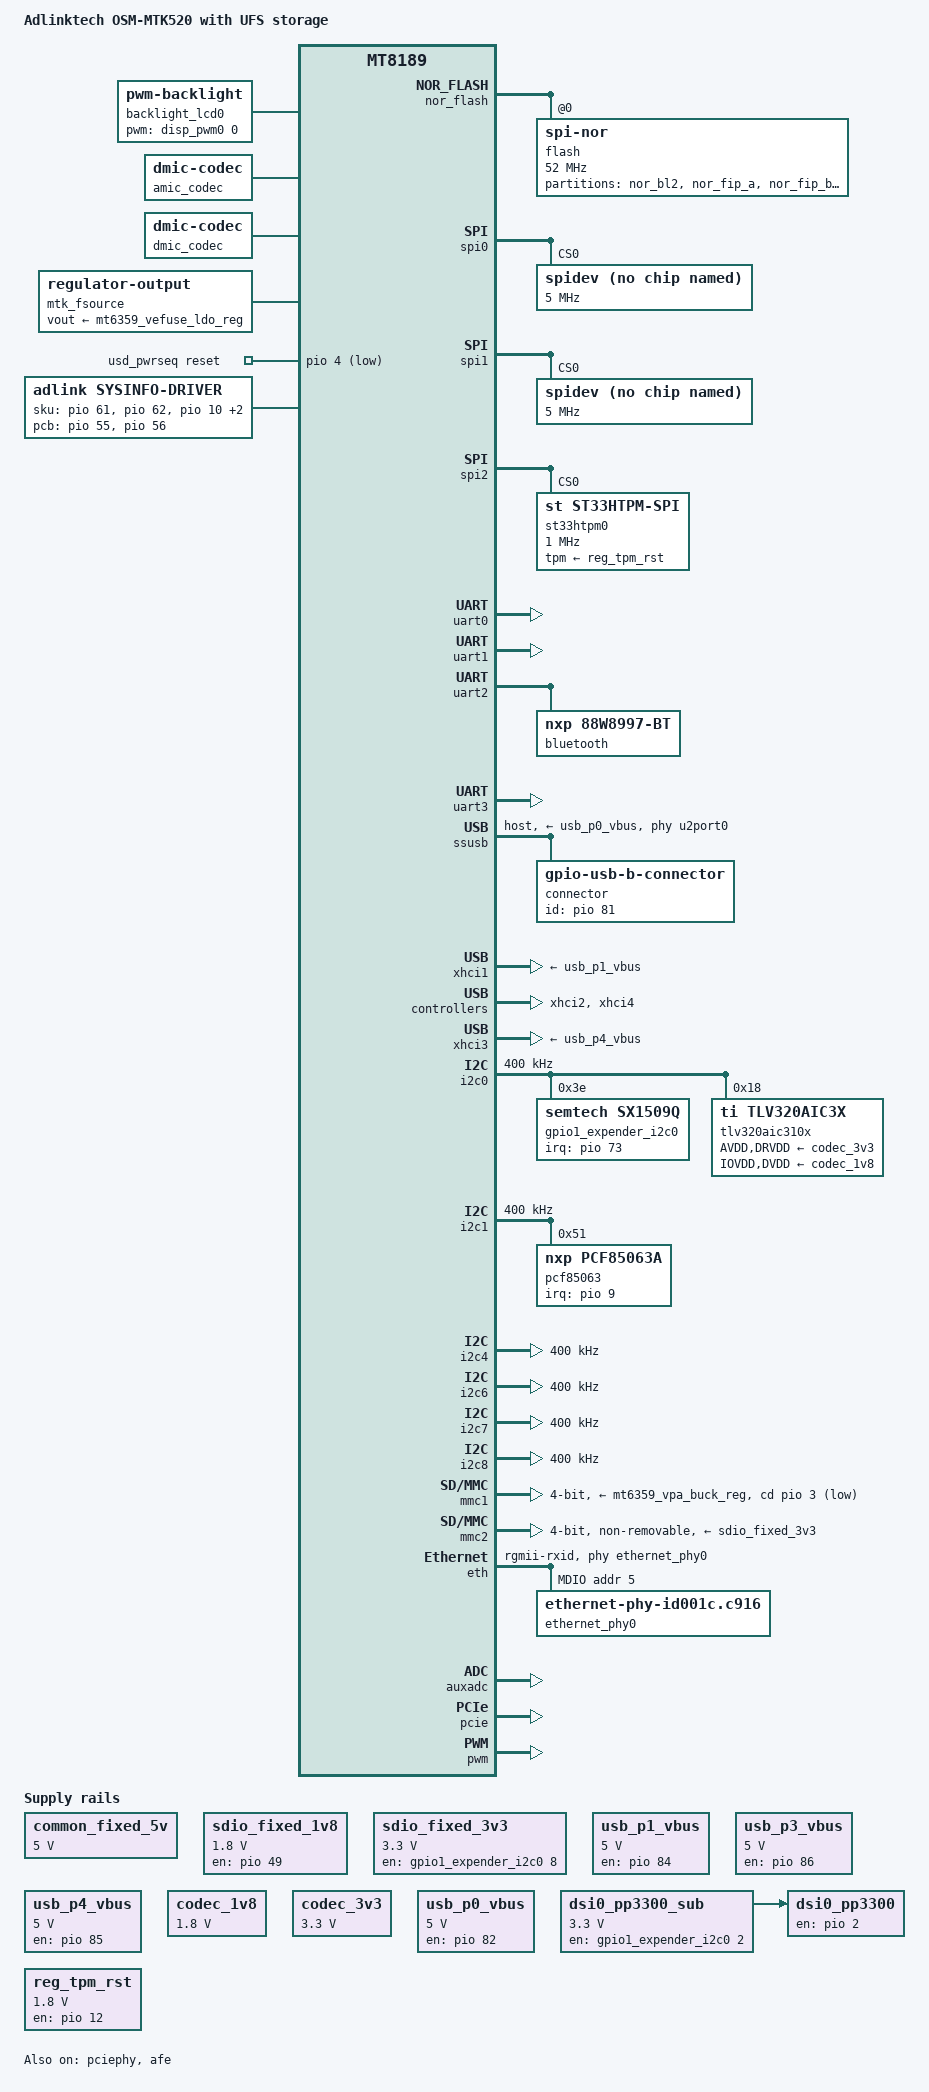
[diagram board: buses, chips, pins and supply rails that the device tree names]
// SPDX-License-Identifier: (GPL-2.0 OR MIT)
/*
 * Copyright (C) 2024 MediaTek Inc.
 * Author: Chris Chen <chris-qj.chen@mediatek.com>
 *	   Pablo Sun <pablo.sun@mediatek.com>
 *	   Macpaul Lin <macpaul.lin@mediatek.com>
 */
/dts-v1/;

#include "osm-mtk520-core.dts"

/ {
	model = "Adlinktech OSM-MTK520 with UFS storage";
	compatible = "mediatek,mt8391-evk", "mediatek,mt8391",
		     "mediatek,mt8189";

	aliases {
		serial0 = &uart0;
		serial1 = &uart1;
		rtc0 = &pcf85063;
        rtc1 = &mt6359rtc;
	};

	backlight_lcd0: backlight-lcd0 {
		compatible = "pwm-backlight";
		pwms = <&disp_pwm0 0 500000>;
		// enable-gpios = <&pio 13 GPIO_ACTIVE_HIGH>;
		brightness-levels = <0 1023>;
		num-interpolated-steps = <1023>;
		default-brightness-level = <576>;
		status = "okay";
	};

	backlight_lcd1: backlight-lcd1 {
		compatible = "pwm-backlight";
		pwms = <&disp_pwm1 0 500000>;
		brightness-levels = <0 1023>;
		num-interpolated-steps = <1023>;
		default-brightness-level = <576>;
		status = "disabled";
	};

	common_fixed_5v: regulator-0 {
		compatible = "regulator-fixed";
		regulator-name = "5v_en";
		regulator-min-microvolt = <5000000>;
		regulator-max-microvolt = <5000000>;
		enable-active-high;
		regulator-always-on;
	};

	sdio_fixed_1v8: regulator-3 {
		compatible = "regulator-fixed";
		regulator-name = "sdio_io";
		regulator-min-microvolt = <1800000>;
		regulator-max-microvolt = <1800000>;
		enable-active-high;
		startup-delay-us = <200000>;
		gpio = <&pio 49 0>;	/* chip SYSRST */
	};

	sdio_fixed_3v3: regulator-4 {
		compatible = "regulator-fixed";
		regulator-name = "sdio_card";
		regulator-min-microvolt = <3300000>;
		regulator-max-microvolt = <3300000>;
		gpio = <&gpio1_expender_i2c0 8 GPIO_ACTIVE_HIGH>;
		enable-active-high;
	};

	usb_p1_vbus: regulator-5 {
		compatible = "regulator-fixed";
		regulator-name = "usb_p1_vbus";
		regulator-min-microvolt = <5000000>;
		regulator-max-microvolt = <5000000>;
		gpio = <&pio 84 GPIO_ACTIVE_HIGH>;
		enable-active-high;
		regulator-always-on;
	};

	usb_p3_vbus: regulator-6 {
		compatible = "regulator-fixed";
		regulator-name = "usb_p3_vbus";
		regulator-min-microvolt = <5000000>;
		regulator-max-microvolt = <5000000>;
		gpio = <&pio 86 0>;
		enable-active-high;
	};

	usb_p4_vbus: regulator-7 {
		compatible = "regulator-fixed";
		regulator-name = "usb_p4_vbus";
		regulator-min-microvolt = <5000000>;
		regulator-max-microvolt = <5000000>;
		gpio = <&pio 85 GPIO_ACTIVE_HIGH>;
		enable-active-high;
		regulator-always-on;
	};

	codec_1v8: codec-1v8 {
		compatible = "regulator-fixed";
		regulator-name = "codec-1v8";
		regulator-min-microvolt = <1800000>;
		regulator-max-microvolt = <1800000>;
		regulator-boot-on;
		regulator-always-on;
		enable-active-high;
	};

	codec_3v3: codec-3v3 {
		compatible = "regulator-fixed";
		regulator-name = "codec-3v3";
		regulator-min-microvolt = <3300000>;
		regulator-max-microvolt = <3300000>;
		regulator-boot-on;
		regulator-always-on;
		enable-active-high;
	};

	usb_p0_vbus: usb-p0-vbus {
		compatible = "regulator-fixed";
		regulator-name = "p0_vbus";
		regulator-min-microvolt = <5000000>;
		regulator-max-microvolt = <5000000>;
		gpio = <&pio 82 GPIO_ACTIVE_HIGH>;
		enable-active-high;
	};

	amic_codec: amic-codec {
		compatible = "dmic-codec";
		#sound-dai-cells = <0>;
		num-channels = <2>;
		wakeup-delay-ms = <200>;
	};

	dmic_codec: dmic-codec {
		compatible = "dmic-codec";
		#sound-dai-cells = <0>;
		num-channels = <2>;
		wakeup-delay-ms = <100>;
	};

	dsi0_pp3300_sub: dsi0-pp3300-sub {
        compatible = "regulator-fixed";
        regulator-name = "lcm2_3v3_sub_en";
        regulator-min-microvolt = <3300000>;
        regulator-max-microvolt = <3300000>;
        enable-active-high;
        gpio = <&gpio1_expender_i2c0 2 0>;
		// regulator-always-on;
    };
	
	dsi0_pp3300: dsi0-pp3300 {
		compatible = "regulator-fixed";
		regulator-name = "lcm2_3v3_en";
		enable-active-high;
		gpio = <&pio 2 0>;
		vin-supply = <&dsi0_pp3300_sub>;
		pinctrl-names = "default";
		pinctrl-0 = <&dsi0_pp3300_pins_default>;
	};

	mtk_fsource: mtk-fsource {
		compatible = "regulator-output";
		vout-supply = <&mt6359_vefuse_ldo_reg>;
	};
	
	edp_panel_fixed_3v3: edp-panel-fixed-3v3 {
		compatible = "regulator-fixed";
		regulator-name = "edp_panel_3v3";
		regulator-min-microvolt = <3300000>;
		regulator-max-microvolt = <3300000>;
		enable-active-high;
		status = "disabled";
	};

	edp_panel_fixed_12v: edp-panel-fixed-12v {
		compatible = "regulator-fixed";
		regulator-name = "edp_backlight_12v";
		regulator-min-microvolt = <12000000>;
		regulator-max-microvolt = <12000000>;
		enable-active-high;
		status = "disabled";
	};

	reg_tpm_rst: regulator-tmp {
		compatible = "regulator-fixed";
		regulator-name = "TPM_RST";
		regulator-min-microvolt = <1800000>;
		regulator-max-microvolt = <1800000>;
        //GPIO_B_1 , TPM_RSTB_N
		gpio =  <&pio 12 GPIO_ACTIVE_HIGH>;
		enable-active-high;
		regulator-always-on;
	};

    leds {
        compatible = "gpio-leds";
    };

	usd_pwrseq: usd-pwrseq {
		compatible = "mmc-pwrseq-simple";
		status = "okay";
		pinctrl-names = "default";
		pinctrl-0 = <&usd_pins_pwrseq>;
		reset-gpios = <&pio 4 1>;
		post-power-on-delay-ms = <200>;
	};

	sysinfo {
        compatible = "adlink,sysinfo-driver";
        status = "okay";

        pinctrl-names = "default";
        pinctrl-0 = <&sysinfo_pins>;

        sku-gpios = <&pio 61 GPIO_ACTIVE_HIGH>,
                    <&pio 62 GPIO_ACTIVE_HIGH>,
                    <&pio 10 GPIO_ACTIVE_HIGH>,
                    <&pio 108 GPIO_ACTIVE_HIGH>,
                    <&pio 109 GPIO_ACTIVE_HIGH>;

        pcb-gpios = <&pio 55 GPIO_ACTIVE_HIGH>,
                    <&pio 56 GPIO_ACTIVE_HIGH>;

        skus {
            sku@0 {
                sku-id = <0>;
                sku-name = "OSM-MTK520-4G-64G-ER(000E)";
            };
            sku@4 {
                sku-id = <4>;
                sku-name = "OSM-MTK520-4G-64G-CT(100E)";
            };
            sku@5 {
                sku-id = <5>;
                sku-name = "OSM-MTK520-8G-64G-CT/NK(210E)";
            };
            sku@20 {
                sku-id = <20>;
                sku-name = "OSM-MTK720-4G-64G-ER(Z00E)";
            };
        };

        pcbs {
            pcb@0 {
                pcb-id = <0>;
                pcb-name = "PCB A1";
            };
            pcb@1 {
                pcb-id = <1>;
                pcb-name = "PCB A2";
            };
            pcb@2 {
                pcb-id = <2>;
                pcb-name = "PCB A3";
            };
            pcb@3 {
                pcb-id = <3>;
                pcb-name = "PCB A4";
            };
        };
    }; 



};


&efuse {
	/* custome data area:237-244 */
	/* Serial Number 237 */
	sn_part0: efuse-c_dat0 {
			reg = <0x510 0x4>;
	};

	/* Serial Number 238 */
	sn_part1: efuse-c_dat1 {
			reg = <0x514 0x4>;
	};
	/* MAC address 239 */
	mac_part0: efuse-c_dat2 {
			reg = <0x518 0x4>;
	};

	/* MAC address 240 */
	mac_part1: efuse-c_dat3 {
			reg = <0x51c 0x4>;
	};
};

&dsi0 {
	status = "disabled";
	#address-cells = <1>;
	#size-cells = <0>;
	poweron-in-hs-mode = <0>;
	dsi_panel@0 {
		compatible = "auo,b080uan01";
		reg = <0>;
		
		reset-gpios = <&pio 25 1>;
		enable-gpios = <&pio 13 0>;
		pinctrl-names = "default";
		pinctrl-0 = <&dsi_panel_pins_default>;
		power-supply = <&dsi0_pp3300>;
		backlight = <&backlight_lcd0>;
		status = "disabled";
		port {
			dsi_panel_in: endpoint {
				remote-endpoint = <&dsi_out>;
			};
		};
	};
	ports {
		port {
			dsi_out: endpoint {
				remote-endpoint = <&dsi_panel_in>;
			};
		};
	};
};

&mipi_tx_config0 {
	status = "disabled";
};

&disp_pwm0 {
	pinctrl-names = "default";
	pinctrl-0 = <&disp_pwm0_pin_default>;
};

&pio {
	uart0_pins: uart0-pins {
		pins {
			pinmux = <PINMUX_GPIO31__FUNC_UTXD0>,
				 <PINMUX_GPIO32__FUNC_URXD0>;
			bias-pull-up;
		};
	};

	uart1_pins: uart1-pins {
		pins {
			pinmux = <PINMUX_GPIO33__FUNC_UTXD1>,
				 <PINMUX_GPIO34__FUNC_URXD1>;
			bias-pull-up;
		};
	};

	uart2_pins: uart2-pins {
		pins {
			pinmux = <PINMUX_GPIO35__FUNC_UTXD2>,
				 <PINMUX_GPIO36__FUNC_URXD2>;
			bias-pull-up;
		};
		rtscts-pins {
			pinmux = <PINMUX_GPIO16__FUNC_UCTS2>,
				 <PINMUX_GPIO17__FUNC_URTS2>;
		};
	};

	uart3_pins: uart3-pins {
		pins {
			pinmux = <PINMUX_GPIO37__FUNC_UTXD3>,
				 <PINMUX_GPIO38__FUNC_URXD3>;
			bias-pull-up;
		};
	};

	sysinfo_pins: sysinfo-pins {
		sku-pins {
			pinmux = <PINMUX_GPIO61__FUNC_GPIO61>,
					<PINMUX_GPIO62__FUNC_GPIO62>,
					<PINMUX_GPIO10__FUNC_GPIO10>,
					<PINMUX_GPIO108__FUNC_GPIO108>,
					<PINMUX_GPIO109__FUNC_GPIO109>;
			input-enable;
			// bias-pull-up;
			bias-disable;
		};
		pcb-pins {
			pinmux = <PINMUX_GPIO55__FUNC_GPIO55>,
					<PINMUX_GPIO56__FUNC_GPIO56>;
			input-enable;
			bias-disable;
		};
	};
	nor_pins_default: nor-default-pins {
		pins-ck-io {
			pinmux = <PINMUX_GPIO150__FUNC_SPINOR_CK>,
				 <PINMUX_GPIO152__FUNC_SPINOR_IO0>,
				 <PINMUX_GPIO153__FUNC_SPINOR_IO1>;
			drive-strength = <MTK_DRIVE_8mA>;
			bias-pull-down;
		};

		pins-cs {
			pinmux = <PINMUX_GPIO151__FUNC_SPINOR_CS>,
					<PINMUX_GPIO154__FUNC_SPINOR_IO2>,
					<PINMUX_GPIO155__FUNC_SPINOR_IO3>;
			drive-strength = <MTK_DRIVE_8mA>;
			bias-pull-up;
		};
	};

	i2c0_pins:i2c0{
		pins-bus{
			pinmux = <PINMUX_GPIO52__FUNC_SDA0>,
					<PINMUX_GPIO51__FUNC_SCL0>;
			bias-pull-up;
		};
	};

	i2c1_pins:i2c1{
		pins-bus{
			pinmux = <PINMUX_GPIO54__FUNC_SDA1>,
					<PINMUX_GPIO53__FUNC_SCL1>;
			bias-pull-up;
		};
	};


	i2c4_pins:i2c4{
		pins-bus{
			pinmux = <PINMUX_GPIO60__FUNC_SDA4>,
					<PINMUX_GPIO59__FUNC_SCL4>;
			bias-pull-up;
		};
	};

	i2c6_pins:i2c6{
		pins-bus{
			pinmux = <PINMUX_GPIO64__FUNC_SDA6>,
					<PINMUX_GPIO63__FUNC_SCL6>;
			bias-pull-up;
		};
	};

	i2c7_pins:i2c7{
		pins-bus{
			pinmux = <PINMUX_GPIO66__FUNC_SDA7>,
					<PINMUX_GPIO65__FUNC_SCL7>;
			bias-pull-up;
		};
	};

	i2c8_pins:i2c8{
		pins-bus{
			pinmux = <PINMUX_GPIO68__FUNC_SDA8>,
					<PINMUX_GPIO67__FUNC_SCL8>;
			bias-pull-up;
		};
	};

	pwm_pins: pwm-pins {
		pins {
			pinmux = <PINMUX_GPIO136__FUNC_PWM_0>,
					<PINMUX_GPIO137__FUNC_PWM_1>,
					<PINMUX_GPIO138__FUNC_PWM_2>;
		};
	};

	tpm_pins: tpm-pins {
        pins-rst {
            pinmux = <PINMUX_GPIO11__FUNC_GPIO11>;
            output-high;
        };
        pins-intr {
            pinmux = <PINMUX_GPIO12__FUNC_GPIO12>;
        };
    };

	eth_default_pins: eth-default-pins {
		txd-pins {
			pinmux = <PINMUX_GPIO119__FUNC_GBE_TXD3>,
				 <PINMUX_GPIO120__FUNC_GBE_TXD2>,
				 <PINMUX_GPIO121__FUNC_GBE_TXD1>,
				 <PINMUX_GPIO122__FUNC_GBE_TXD0>;
			drive-strength = <MTK_DRIVE_8mA>;
		};
		cc-pins {
			pinmux = <PINMUX_GPIO127__FUNC_GBE_TXC>,
				 <PINMUX_GPIO130__FUNC_GBE_TXEN>,
				 <PINMUX_GPIO129__FUNC_GBE_RXDV>,
				 <PINMUX_GPIO128__FUNC_GBE_RXC>;
			drive-strength = <MTK_DRIVE_8mA>;
		};
		rxd-pins {
			pinmux = <PINMUX_GPIO123__FUNC_GBE_RXD3>,
				 <PINMUX_GPIO124__FUNC_GBE_RXD2>,
				 <PINMUX_GPIO125__FUNC_GBE_RXD1>,
				 <PINMUX_GPIO126__FUNC_GBE_RXD0>;
			drive-strength = <MTK_DRIVE_8mA>;
		};
		mdio-pins {
			pinmux = <PINMUX_GPIO131__FUNC_GBE_MDC>,
				 <PINMUX_GPIO132__FUNC_GBE_MDIO>;
			drive-strength = <MTK_DRIVE_8mA>;
			input-enable;
		};
		phy_reset_pin {									
			pinmux = <PINMUX_GPIO14__FUNC_GPIO14>; 
            output-high;
		};
		phy_intr_pin {									
			pinmux = <PINMUX_GPIO115__FUNC_GPIO115>;
		};		
	};

	eth_sleep_pins: eth-sleep-pins {
		txd-pins {
			pinmux = <PINMUX_GPIO119__FUNC_GPIO119>,
				 <PINMUX_GPIO120__FUNC_GPIO120>,
				 <PINMUX_GPIO121__FUNC_GPIO121>,
				 <PINMUX_GPIO122__FUNC_GPIO122>;
		};
		cc-pins {
			pinmux = <PINMUX_GPIO127__FUNC_GPIO127>,
				 <PINMUX_GPIO130__FUNC_GPIO130>,
				 <PINMUX_GPIO129__FUNC_GPIO129>,
				 <PINMUX_GPIO128__FUNC_GPIO128>;
		};
		rxd-pins {
			pinmux = <PINMUX_GPIO123__FUNC_GPIO123>,
				 <PINMUX_GPIO124__FUNC_GPIO124>,
				 <PINMUX_GPIO125__FUNC_GPIO125>,
				 <PINMUX_GPIO126__FUNC_GPIO126>;
		};
		mdio-pins {
			pinmux = <PINMUX_GPIO131__FUNC_GPIO131>,
				 <PINMUX_GPIO132__FUNC_GPIO132>;
			input-disable;
			bias-disable;
		};
	};

	pcie_default_pins: pcie-default-pins {
		pins {
			pinmux = <PINMUX_GPIO48__FUNC_WAKEN>,
				 <PINMUX_GPIO49__FUNC_PERSTN>,
				 <PINMUX_GPIO50__FUNC_CLKREQN>;
			bias-pull-up;
		};

	};

	usb0_default_pins: usb0-default-pins {
		pins-vbus-valid {
			pinmux = <PINMUX_GPIO83__FUNC_VBUSVALID>;
		};
		pins-iddig {
			pinmux = <PINMUX_GPIO81__FUNC_IDDIG>;
			input-enable;
			bias-pull-up;
		};

		pins-vbus {
			pinmux = <PINMUX_GPIO82__FUNC_USB_DRVVBUS>;
			output-high;
		};
	};
	usd_pins_pwrseq: usdpwrseq {
		pins-usd-enable { 
			pinmux = <PINMUX_GPIO4__FUNC_GPIO4>;
			output-low;
		};
	};

	mmc1_pins_default: mmc1default {
		pins-cmd-dat {
			pinmux = <PINMUX_GPIO168__FUNC_MSDC1_CMD>,
				<PINMUX_GPIO170__FUNC_MSDC1_DAT0>,
				<PINMUX_GPIO171__FUNC_MSDC1_DAT1>,
				<PINMUX_GPIO172__FUNC_MSDC1_DAT2>,
				<PINMUX_GPIO173__FUNC_MSDC1_DAT3>;
			input-enable;
			drive-strength = <MTK_DRIVE_6mA>;
			bias-pull-up = <MTK_PUPD_SET_R1R0_01>;
		};
		pins-clk {
			pinmux = <PINMUX_GPIO169__FUNC_MSDC1_CLK>;
			drive-strength = <MTK_DRIVE_6mA>;
			bias-pull-down = <MTK_PUPD_SET_R1R0_10>;
		};
		pins-insert {
			pinmux = <PINMUX_GPIO3__FUNC_GPIO3>;
			bias-pull-up;
		};
	};

	mmc1_pins_uhs: mmc1@0{
		pins-cmd-dat {
			pinmux = <PINMUX_GPIO168__FUNC_MSDC1_CMD>,
				<PINMUX_GPIO170__FUNC_MSDC1_DAT0>,
				<PINMUX_GPIO171__FUNC_MSDC1_DAT1>,
				<PINMUX_GPIO172__FUNC_MSDC1_DAT2>,
				<PINMUX_GPIO173__FUNC_MSDC1_DAT3>;
			input-enable;
			drive-strength = <MTK_DRIVE_8mA>;
			bias-pull-up = <MTK_PUPD_SET_R1R0_01>;
		};
		pins-clk {
			pinmux = <PINMUX_GPIO169__FUNC_MSDC1_CLK>;
			drive-strength = <MTK_DRIVE_8mA>;
			bias-pull-down = <MTK_PUPD_SET_R1R0_10>;
		};
	};

	mmc2_pins_default: mmc2default {
		pins-clk {
			pinmux = <PINMUX_GPIO175__FUNC_MSDC2_CLK>;
			drive-strength = <MTK_DRIVE_4mA>;
			bias-pull-down = <MTK_PUPD_SET_R1R0_10>;
		};

		pins-cmd-dat {
			pinmux = <PINMUX_GPIO176__FUNC_MSDC2_DAT0>,
				<PINMUX_GPIO177__FUNC_MSDC2_DAT1>,
				<PINMUX_GPIO178__FUNC_MSDC2_DAT2>,
				<PINMUX_GPIO179__FUNC_MSDC2_DAT3>,
				<PINMUX_GPIO174__FUNC_MSDC2_CMD>;
			input-enable;
			drive-strength = <MTK_DRIVE_4mA>;
			bias-pull-up = <MTK_PUPD_SET_R1R0_01>;
		};
	};

	mmc2_pins_uhs: mmc2uhs {
		pins-clk {
			pinmux = <PINMUX_GPIO175__FUNC_MSDC2_CLK>;
			drive-strength = <MTK_DRIVE_6mA>;
			bias-pull-down = <MTK_PUPD_SET_R1R0_10>;
		};

		pins-cmd-dat {
			pinmux = <PINMUX_GPIO176__FUNC_MSDC2_DAT0>,
				<PINMUX_GPIO177__FUNC_MSDC2_DAT1>,
				<PINMUX_GPIO178__FUNC_MSDC2_DAT2>,
				<PINMUX_GPIO179__FUNC_MSDC2_DAT3>,
				<PINMUX_GPIO174__FUNC_MSDC2_CMD>;
			input-enable;
			drive-strength = <MTK_DRIVE_6mA>;
			bias-pull-up = <MTK_PUPD_SET_R1R0_01>;
		};
	};

	// mmc2_pins_eint: dat1-eint {
	// 	pins-dat1 {
	// 		pinmux = <PINMUX_GPIO177__FUNC_GPIO177>;
	// 		input-enable;
	// 		bias-pull-up = <MTK_PUPD_SET_R1R0_01>;
	// 	};
	// };

	// rt1715_int_pins: rt1715-int-pins {
	// 	pins-int {
	// 		pinmux = <PINMUX_GPIO8__FUNC_GPIO8>;
	// 		bias-pull-up;
	// 		input-enable;
	// 	};
	// };

	// mt6375_int_pins: mt6375-int-pins {
	// 	pins-int {
	// 		pinmux = <PINMUX_GPIO9__FUNC_GPIO9>;
	// 		bias-pull-up;
	// 		input-enable;
	// 	};
	// };

	// };

	disp_pwm0_pin_default: disp-pwm0-pin-default {
		pins1 {
			pinmux = <PINMUX_GPIO29__FUNC_DISP_PWM0>;
			output-high;
		};
	};

	dsi0_pp3300_pins_default: dsi0-pp3300-pins-default {
		panel-en {
			pinmux = <PINMUX_GPIO2__FUNC_GPIO2>;
			output-high;
		};
	};
	
	dsi_panel_pins_default: dsi-panel-pins-default {
		pins-cmd-dat {
			pinmux = <PINMUX_GPIO25__FUNC_GPIO25>;
			output-high;
		};
		pins-te {
			pinmux = <PINMUX_GPIO26__FUNC_GPIO26>;
			input-enable;
		};
	};


	/* AUDIO GPIO standardization start */
	/* Audio I2S Interface */
	aud_gpio_i2sin0_off: aud-gpio-i2sin0-off {
		pins-cmd1-dat {
			pinmux = <PINMUX_GPIO103__FUNC_GPIO103>;
			input-enable;
			bias-pull-down;
		};

		pins-cmd2-dat {
			pinmux = <PINMUX_GPIO104__FUNC_GPIO104>;
			input-enable;
			bias-pull-down;
		};

		pins-cmd3-dat {
			pinmux = <PINMUX_GPIO105__FUNC_GPIO105>;
			input-enable;
			bias-pull-down;
		};

		pins-cmd4-dat {
			pinmux = <PINMUX_GPIO106__FUNC_GPIO106>;
			input-enable;
			bias-pull-down;
		};
	};

	aud_gpio_i2sin0_on: aud-gpio-i2sin0-on {
		pins-cmd1-dat {
			pinmux = <PINMUX_GPIO103__FUNC_I2SIN0_MCK>;
			input-schmitt-enable;
			bias-disable;
		};

		pins-cmd2-dat {
			pinmux = <PINMUX_GPIO104__FUNC_I2SIN0_BCK>;
			input-enable;
			bias-pull-down;
		};

		pins-cmd3-dat {
			pinmux = <PINMUX_GPIO105__FUNC_I2SIN0_LRCK>;
			input-enable;
			bias-pull-down;
		};

		pins-cmd4-dat {
			pinmux = <PINMUX_GPIO106__FUNC_I2SIN0_DI>;
			input-enable;
			bias-pull-down;
		};
	};

	aud_gpio_i2sin1_off: aud-gpio-i2sin1-off {
	// 	pins-cmd1-dat {
	// 		pinmux = <PINMUX_GPIO18__FUNC_GPIO18>;
	// 		input-enable;
	// 		bias-pull-down;
	// 	};

	// 	pins-cmd2-dat {
	// 		pinmux = <PINMUX_GPIO19__FUNC_GPIO19>;
	// 		input-enable;
	// 		bias-pull-down;
	// 	};

	// 	pins-cmd3-dat {
	// 		pinmux = <PINMUX_GPIO20__FUNC_GPIO20>;
	// 		input-enable;
	// 		bias-pull-down;
	// 	};

	// 	pins-cmd4-dat {
	// 		pinmux = <PINMUX_GPIO21__FUNC_GPIO21>;
	// 		input-enable;
	// 		bias-pull-down;
	// 	};
	};

	aud_gpio_i2sin1_on: aud-gpio-i2sin1-on {
	// 	pins-cmd1-dat {
	// 		pinmux = <PINMUX_GPIO18__FUNC_I2SIN1_MCK>;
	// 		input-schmitt-enable;
	// 		bias-disable;
	// 	};

	// 	pins-cmd2-dat {
	// 		pinmux = <PINMUX_GPIO19__FUNC_I2SIN1_BCK>;
	// 		input-enable;
	// 		bias-pull-down;
	// 	};

	// 	pins-cmd3-dat {
	// 		pinmux = <PINMUX_GPIO20__FUNC_I2SIN1_LRCK>;
	// 		input-enable;
	// 		bias-pull-down;
	// 	};

	// 	pins-cmd4-dat {
	// 		pinmux = <PINMUX_GPIO21__FUNC_I2SIN1_DI>;
	// 		input-enable;
	// 		bias-pull-down;
	// 	};
	};

	aud_gpio_i2sout0_off: aud-gpio-i2sout0-off {
		pins-cmd1-dat {
            pinmux = <PINMUX_GPIO103__FUNC_GPIO103>;
			input-enable;
			bias-pull-down;
		};

        pins-cmd2-dat {
            pinmux = <PINMUX_GPIO104__FUNC_GPIO104>;
			input-enable;
			bias-pull-down;
		};

		pins-cmd3-dat {
            pinmux = <PINMUX_GPIO105__FUNC_GPIO105>;
			input-enable;
			bias-pull-down;
		};

		pins-cmd4-dat {
			pinmux = <PINMUX_GPIO110__FUNC_GPIO110>;
			input-enable;
			bias-pull-down;
		};
    };
	aud_gpio_i2sout0_on: aud-gpio-i2sout0-on {
		pins-cmd1-dat {
            pinmux = <PINMUX_GPIO103__FUNC_I2SIN0_MCK>;
			input-schmitt-enable;
			bias-disable;
		};

        pins-cmd2-dat {
            pinmux = <PINMUX_GPIO104__FUNC_I2SIN0_BCK>;
			input-schmitt-enable;
            bias-pull-down;
		};

		pins-cmd3-dat {
            pinmux = <PINMUX_GPIO105__FUNC_I2SIN0_LRCK>;
			input-schmitt-enable;
            bias-pull-down;
		};

		pins-cmd4-dat {
			pinmux = <PINMUX_GPIO110__FUNC_I2SOUT0_DO>;
			input-schmitt-enable;
			bias-disable;
		};
	};

	/* Audio DMIC Interface */
	aud_gpio_ap_dmic_off: aud-gpio-ap-dmic-off {
		pins-cmd1-dat {
			pinmux = <PINMUX_GPIO111__FUNC_GPIO111>;
			input-enable;
			bias-pull-down;
		};
		pins-cmd2-dat {
			pinmux = <PINMUX_GPIO112__FUNC_GPIO112>;
			input-enable;
			bias-pull-down;
		};
	};

	aud_gpio_ap_dmic_on: aud-gpio-ap-dmic-on {
		pins-cmd1-dat {
			pinmux = <PINMUX_GPIO111__FUNC_DMIC0_CLK>;
			input-schmitt-enable;
			bias-disable;
		};
		pins-cmd2-dat {
			pinmux = <PINMUX_GPIO112__FUNC_DMIC0_DAT0>;
			input-schmitt-enable;
			bias-disable;
		};
	};

	/* Audio PCM Interface */
	aud_gpio_pcm_off: aud-gpio-pcm-off {
	// 	pins-cmd1-dat {
	// 		pinmux = <PINMUX_GPIO115__FUNC_GPIO115>;
	// 		input-enable;
	// 		bias-pull-down;
	// 	};
		pins-cmd2-dat {
			pinmux = <PINMUX_GPIO116__FUNC_GPIO116>;
			input-enable;
			bias-pull-down;
		};
		pins-cmd3-dat {
			pinmux = <PINMUX_GPIO117__FUNC_GPIO117>;
			input-enable;
			bias-pull-down;
		};
		pins-cmd4-dat {
			pinmux = <PINMUX_GPIO118__FUNC_GPIO118>;
			input-enable;
			bias-pull-down;
		};
	};

	aud_gpio_pcm_on: aud-gpio-pcm-on {
		// pins-cmd1-dat {
		// 	pinmux = <PINMUX_GPIO115__FUNC_PCM0_CLK>;
		// 	input-schmitt-enable;
		// 	bias-disable;
		// };
		pins-cmd2-dat {
			pinmux = <PINMUX_GPIO116__FUNC_PCM0_SYNC>;
			input-schmitt-enable;
			bias-disable;
		};
		pins-cmd3-dat {
			pinmux = <PINMUX_GPIO117__FUNC_PCM0_DI>;
			input-schmitt-enable;
			bias-disable;
		};
		pins-cmd4-dat {
			pinmux = <PINMUX_GPIO118__FUNC_PCM0_DO>;
			input-schmitt-enable;
			bias-disable;
		};
	};

	aud_gpio_pmic_off: aud-gpio-pmic-off {
		pins-cmd1-dat {
			pinmux = <PINMUX_GPIO97__FUNC_GPIO97>;
			input-enable;
			bias-pull-down;
		};
		pins-cmd2-dat {
			pinmux = <PINMUX_GPIO98__FUNC_GPIO98>;
			input-enable;
			bias-pull-down;
		};
		pins-cmd3-dat {
			pinmux = <PINMUX_GPIO99__FUNC_GPIO99>;
			input-enable;
			bias-pull-down;
		};
		pins-cmd4-dat {
			pinmux = <PINMUX_GPIO100__FUNC_GPIO100>;
			input-enable;
			bias-pull-down;
		};
		pins-cmd5-dat {
			pinmux = <PINMUX_GPIO101__FUNC_GPIO101>;
			input-enable;
			bias-pull-down;
		};
		pins-cmd6-dat {
			pinmux = <PINMUX_GPIO102__FUNC_GPIO102>;
			input-enable;
			bias-disable;
		};
	};

	aud_gpio_pmic_on: aud-gpio-pmic-on {
		pins-cmd1-dat {
			pinmux = <PINMUX_GPIO97__FUNC_AUD_CLK_MOSI>;
			input-schmitt-enable;
			bias-disable;
		};
		pins-cmd2-dat {
			pinmux = <PINMUX_GPIO98__FUNC_AUD_SYNC_MOSI>;
			input-schmitt-enable;
			bias-disable;
		};
		pins-cmd3-dat {
			pinmux = <PINMUX_GPIO99__FUNC_AUD_DAT_MOSI0>;
			input-schmitt-enable;
			bias-disable;
		};
		pins-cmd4-dat {
			pinmux = <PINMUX_GPIO100__FUNC_AUD_DAT_MOSI1>;
			input-schmitt-enable;
			bias-disable;
		};
		pins-cmd5-dat {
			pinmux = <PINMUX_GPIO101__FUNC_AUD_DAT_MISO0>;
			input-schmitt-enable;
			bias-disable;
		};
		pins-cmd6-dat {
			pinmux = <PINMUX_GPIO102__FUNC_AUD_DAT_MISO1>;
			input-schmitt-enable;
			bias-disable;
		};
	};

	/* AUDIO GPIO standardization end */

	spi0_pins: spi0-pins {
		pins-spi {
			pinmux = <PINMUX_GPIO69__FUNC_SPIM0_CSB>,
				<PINMUX_GPIO70__FUNC_SPIM0_CLK>,
				<PINMUX_GPIO71__FUNC_SPIM0_MO>,
				<PINMUX_GPIO72__FUNC_SPIM0_MI>;
			bias-disable;
		};
	};

	spi1_pins: spi1-pins {
		pins-spi {
			pinmux = <PINMUX_GPIO73__FUNC_SPIM1_CSB>,
				<PINMUX_GPIO74__FUNC_SPIM1_CLK>,
				<PINMUX_GPIO75__FUNC_SPIM1_MO>,
				<PINMUX_GPIO76__FUNC_SPIM1_MI>;
			bias-disable;
		};
	};

	spi2_pins: spi2-pins {
		pins-spi-bus {
			pinmux = <PINMUX_GPIO77__FUNC_SPIM2_CSB>,
				<PINMUX_GPIO78__FUNC_SPIM2_CLK>,
				<PINMUX_GPIO79__FUNC_SPIM2_MO>,
				<PINMUX_GPIO80__FUNC_SPIM2_MI>;	
				drive-strength = <MTK_DRIVE_6mA>;
		};
	};

	edp_pin: edp-pin-default {
		pins-cmd-dat {
			pinmux = <PINMUX_GPIO28__FUNC_EDP_TX_HPD>;
			bias-pull-up;
		};
	};

	disp_pwm1_pin_default: disp-pwm1-pin-default {
		pins1 {
			pinmux = <PINMUX_GPIO30__FUNC_DISP_PWM1>;
		};
	};

	// edp_panel_3v3_en_pins: edp-panel-3v3-en-pins {
	// 	pins1 {
	// 		pinmux = <PINMUX_GPIO109__FUNC_GPIO109>;
	// 		output-high;
	// 	};
	// };

	gpio_exp1_pins: gpio-exp1-pins {
		pins {
		    pinmux = <PINMUX_GPIO7__FUNC_GPIO7>;
		};
		reset-pin {
		    pinmux = <PINMUX_GPIO6__FUNC_GPIO6>;
			output-high;
		};
	};
};




&nor_flash {
	pinctrl-names = "default";
	pinctrl-0 = <&nor_pins_default>;

	status = "okay";

	flash@0 {
		compatible = "jedec,spi-nor";
		reg = <0>;
		spi-max-frequency = <52000000>;
		spi-rx-bus-width = <4>;
		spi-tx-bus-width = <4>;
		partitions {
			compatible = "fixed-partitions";
			#address-cells = <1>;
			#size-cells = <1>;

			partition@0 {
				label = "nor_bl2";
				reg = <0x0 0x200000>;
				read-only;
			};

			partition@200000 {
				label = "nor_fip_a";
				reg = <0x200000 0x200000>;
				read-only;
			};

			partition@400000 {
				label = "nor_fip_b";
				reg = <0x400000 0x200000>;
				read-only;
			};

			partition@600000 {
				label = "nor_firmware_a";
				reg = <0x600000 0x200000>;
				read-only;
			};

			partition@800000 {
				label = "nor_nor_firmware_b";
				reg = <0x800000 0x200000>;
				read-only;
			};

			partition@a00000 {
				label = "nor_dramk";
				reg = <0xa00000 0x80000>;
				read-only;
			};

			partition@a80000 {
				label = "nor_misc";
				reg = <0xa80000 0x100000>;
				read-only;
			};

			partition@b80000 {
				label = "nor_bootassets";
				reg = <0xb80000 0x200000>;
			};

			partition@d80000 {
				label = "nor_env";
				reg = <0xd80000 0x200000>;
			};
		};
	};
};

&spi0 {
	pinctrl-0 = <&spi0_pins>;
	pinctrl-names = "default";
	mediatek,pad-select = <0>;
	status = "okay";

	spidev@0 {
		compatible = "rohm,dh2228fv";
		spi-max-frequency = <5000000>;
		spi-cs-setup-delay-ns = <30000>;
		reg = <0>;
	};
};

&spi1 {
	pinctrl-0 = <&spi1_pins>;
	pinctrl-names = "default";
	mediatek,pad-select = <0>;
	status = "okay";

	spidev@0 {
		compatible = "rohm,dh2228fv";
		spi-max-frequency = <5000000>;
		spi-cs-setup-delay-ns = <30000>;
		reg = <0>;
	};
};

&spi2 {
	pinctrl-0 = <&spi2_pins>;
	pinctrl-names = "default";
	#address-cells = <1>;
	#size-cells = <0>;
	status = "okay";

    st33htpm0: st33htpm0@0 {
		compatible = "st,st33htpm-spi";     
        reg = <0>; 
        spi-max-frequency = <1000000>; 
		spi-cs-setup-delay-ns = <30000>;
		tpm-supply = <&reg_tpm_rst>;
		interrupts = <&pio 47 IRQ_TYPE_LEVEL_LOW>;
		status = "okay";
    };
};

/* console */ 
&uart0 {
	pinctrl-0 = <&uart0_pins>;
	pinctrl-names = "default";
	status = "okay";
};


/* uart C */ 
&uart1 {
	pinctrl-0 = <&uart1_pins>;
	pinctrl-names = "default";
	status = "okay";
};

/* RF BT module */ 
&uart2 {
	pinctrl-0 = <&uart2_pins>;
	pinctrl-names = "default";
	status = "okay";
		//EB4
	bluetooth {
		compatible = "nxp,88w8997-bt";
	};
};

/* uart D */ 
&uart3 {
	pinctrl-0 = <&uart3_pins>;
	pinctrl-names = "default";
	status = "okay";
};

&ssusb {
	vbus-supply = <&usb_p0_vbus>;
	pinctrl-names = "default";
	pinctrl-0 = <&usb0_default_pins>;
	vusb33-supply = <&mt6359_vusb_ldo_reg>;
	wakeup-source;
	maximum-speed = "high-speed";
	role-switch-default-mode = "host";
	phys = <&u2port0 PHY_TYPE_USB2>;
	mediatek,u3p-dis-msk = <0x1>;
	dr_mode = "host";
	status = "okay";
	connector {
		compatible = "gpio-usb-b-connector", "usb-b-connector";
		type = "micro";
		id-gpios = <&pio 81 GPIO_ACTIVE_HIGH>;
	};
};

&xhci1 {
	vusb33-supply = <&mt6359_vusb_ldo_reg>;
	vbus-supply = <&usb_p1_vbus>;
	wakeup-source;
	status = "okay";
};

&xhci2 {
	wakeup-source;
	status = "okay";
};

&xhci3 {
	vusb33-supply = <&mt6359_vusb_ldo_reg>;
	vbus-supply = <&usb_p4_vbus>;
	wakeup-source;
	status = "okay";
};

&xhci4 {
	wakeup-source;
	status = "okay";
};

&i2c0{
	pinctrl-names = "default";
	pinctrl-0 = <&i2c0_pins>;
	clock-frequency = <400000>;
	status = "okay";


	gpio1_expender_i2c0: gpio_exp1@3e {
		/* GPIO Expander 0 Mapping :
		* - 0: HP_LOP_SEL				=>	Select HP or Lineout
		* - 1: eDPA_HDMI_SEL			=>	Select eDP or HDMI
		* - 2: LVDS_DSI_SEL			=>	Select LVDS or DSI
		* - 3: LT9611_RST_N_3V			=>	For DSI-HDMI(option) w/ LT9611
		* - 4: CAN_A_STBY_3V3			=> 	CAN A standby
		* - 5: CAN_B_STBY_3V3			=>	CAN B standby
		* - 6: CODEC_RST
		* - 7: E_GPIO0_3V3				=>	CN2901-7
		* - 8: RF_PD					=>	WiFi AW-CM276 pd
		* - 9: E_GPIO1_3V3				=>	CN2901-11
		* - 10:E_GPIO2_3V3				=>	CN2901-13
		* - 11:E_GPIO3_3V3				=>	CN2901-15
		* - 12:E_GPIO4_3V3				=>	CN2901-12
		* - 13:E_GPIO5_3V3				=>	CN2901-16
		* - 14:E_GPIO6_3V3				=>	CN2901-18
		* - 15:E_GPIO7_3V3				=>	CN2904-2
		*/
		#gpio-cells = <2>;
		#interrupt-cells = <2>;
		compatible = "semtech,sx1509q";
		reg = <0x3e>;
		pinctrl-names = "default";
		pinctrl-0 = <&gpio_exp1_pins &edp_hdmi_sel &hp_lop_sel>;
		semtech,probe-reset;
		gpio-controller;
		interrupt-controller;
		interrupt-parent = <&pio>;
		interrupts = <73 IRQ_TYPE_EDGE_FALLING>;
		hp_lop_sel: gpio0-cfg {
			pins = "gpio0";
			output-high;
			bias-pull-up;
		};
		edp_hdmi_sel: gpio1-cfg {
			pins = "gpio1";
			output-low;
		};
		// lvds_dsi_sel: gpio2-cfg {
		// 	pins = "gpio2";
		// };
	};

	tlv320aic310x: tlv320aic3x@18 {
		compatible = "ti,tlv320aic3x";
		#sound-dai-cells = <0>;
		reg = <0x18>;
		AVDD-supply = <&codec_3v3>;
		IOVDD-supply = <&codec_1v8>;
		DRVDD-supply = <&codec_3v3>;
		DVDD-supply = <&codec_1v8>;
		/* headset mic: power MICBIAS to 2.5V (1=2.0V, 2=2.5V, 3=AVDD) */
		ai3x-micbias-vg = <2>;	
		// ai3x-ocmv = <2>;

		status = "okay";
	};
};

&i2c1{
	pinctrl-names = "default";
	pinctrl-0 = <&i2c1_pins>;
	clock-frequency = <400000>;
	status = "okay";

	/* PCF85063ATT U2901 */
    pcf85063: rtc@51 {
        compatible = "nxp,pcf85063a";
        reg = <0x51>;
        quartz-load-femtofarads = <12500>;
        interrupts-extended = <&pio 9 IRQ_TYPE_LEVEL_LOW>;
    };

};

&i2c4{
	pinctrl-names = "default";
	pinctrl-0 = <&i2c4_pins>;
	clock-frequency = <400000>;
	status = "okay";

};

&i2c6{
	pinctrl-names = "default";
	pinctrl-0 = <&i2c6_pins>;
	clock-frequency = <400000>;
	status = "okay";
};

&i2c7{
	pinctrl-names = "default";
	pinctrl-0 = <&i2c7_pins>;
	clock-frequency = <400000>;
	status = "okay";
};

&i2c8{
	pinctrl-names = "default";
	pinctrl-0 = <&i2c8_pins>;
	clock-frequency = <400000>;
	status = "okay";
};

// to sd-card slot
&mmc1 {
	status = "okay";
	pinctrl-names = "default", "state_uhs";
	pinctrl-0 = <&mmc1_pins_default>;
	pinctrl-1 = <&mmc1_pins_uhs>;
	bus-width = <4>;
	max-frequency = <200000000>;
	cap-sd-highspeed;
	sd-uhs-sdr50;
	sd-uhs-sdr104;
	no-mmc;
	no-sdio;
	cd-gpios = <&pio 3 GPIO_ACTIVE_LOW>;
	mmc-pwrseq = <&usd_pwrseq>;
	vmmc-supply = <&mt6359_vpa_buck_reg>;
	vqmmc-supply = <&mt6359_vsim1_ldo_reg>;
};


&mt6359_vpa_buck_reg {
	regulator-max-microvolt = <3000000>;
};

&mt6359_vsim1_ldo_reg {
	regulator-enable-ramp-delay = <480>;
};

// to wifi module SDIO interface
&mmc2 {
	status = "okay";
	pinctrl-names = "default", "state_uhs";
	pinctrl-0 = <&mmc2_pins_default>;
	pinctrl-1 = <&mmc2_pins_uhs>;
	bus-width = <4>;
	max-frequency = <200000000>;
	cap-sd-highspeed;
	sd-uhs-sdr104;
	keep-power-in-suspend;
	wakeup-source;
	// cap-sdio-irq;
	mediatek,disable-single-burst;
	no-mmc;
	no-sd;
	non-removable;
	vmmc-supply = <&sdio_fixed_3v3>;
	vqmmc-supply = <&sdio_fixed_1v8>;
#if 0	
	mwifiex: mwifiex@1 {
		compatible = "marvell,sd8997";
		reg = <1>;
	};
#endif	
};


&eth {
	phy-mode ="rgmii-rxid";
	phy-handle = <&ethernet_phy0>;
	mediatek,tx-delay-ps = <2030>;
	mediatek,mac-wol;
	pinctrl-names = "default", "sleep";
	pinctrl-0 = <&eth_default_pins>;
	pinctrl-1 = <&eth_sleep_pins>;
	nvmem-cells = <&mac_part0 &mac_part1>;
	nvmem-cell-names = "mac-part0", "mac-part1";
	status = "okay";
	mdio {
		compatible = "snps,dwmac-mdio";
		#address-cells = <1>;
		#size-cells = <0>;
		ethernet_phy0: ethernet-phy@5 {
			compatible = "ethernet-phy-id001c.c916";
			reg = <0x5>;
		};
	};
};

&auxadc {
	status = "okay";
};

&pcie {
	pinctrl-names = "default";
	pinctrl-0 = <&pcie_default_pins>;
	status = "okay";
};

&pciephy {
	status = "okay";
};

&mt6359codec {
	mediatek,mic-type-0 = <1>;
	mediatek,mic-type-1 = <3>;
	mediatek,mic-type-2 = <1>;
};

&afe {
	memory-region = <&afe_dma_mem_reserved>;
	status = "okay";
};

&sound {
	compatible = "mediatek,mt8189-mt6359p-sound";
	model = "mt8391-evk";
	status = "okay";

	pinctrl-names = "aud-gpio-i2sin0-off",
		"aud-gpio-i2sin0-on",
		"aud-gpio-i2sin1-off",
		"aud-gpio-i2sin1-on",
		"aud-gpio-i2sout0-off",
		"aud-gpio-i2sout0-on",
		/*dmic*/
		"aud-gpio-ap-dmic-off",
		"aud-gpio-ap-dmic-on",
		/*pcm*/
		"aud-gpio-pcm-off",
		"aud-gpio-pcm-on",
		/* pmic */
		"aud-gpio-pmic-off",
		"aud-gpio-pmic-on";

	/* i2s */
	pinctrl-0 = <&aud_gpio_i2sin0_off>;
	pinctrl-1 = <&aud_gpio_i2sin0_on>;
	pinctrl-2 = <&aud_gpio_i2sin1_off>;
	pinctrl-3 = <&aud_gpio_i2sin1_on>;
	pinctrl-4 = <&aud_gpio_i2sout0_off>;
	pinctrl-5 = <&aud_gpio_i2sout0_on>;
	/* dmic */
	pinctrl-6 = <&aud_gpio_ap_dmic_off>;
	pinctrl-7 = <&aud_gpio_ap_dmic_on>;
	/* pcm */
	pinctrl-8 = <&aud_gpio_pcm_off>;
	pinctrl-9 = <&aud_gpio_pcm_on>;
	/* pmic */
	pinctrl-10 = <&aud_gpio_pmic_off>;
	pinctrl-11 = <&aud_gpio_pmic_on>;

	audio-routing = "I2SOUT0", "ETDMOUT_HP_PIN",
			"I2SIN1", "ETDMIN_SPK_PIN",
			"I2SIN0", "ETDMIN_HP_PIN",
			"AP DMIC Capture", "AP_DMIC0_PIN",
			"AP DMIC Capture", "MIC_BIAS_0",
			"PCM 0 Capture", "ETDMOUT_HDMI_PIN",
			"PCM 0 Playback", "ETDMOUT_HDMI_PIN",
			"ADDA Capture", "PMIC_CODEC_PIN",
			"ADDA Playback", "PMIC_CODEC_PIN";

	dai-link-0 {
		link-name = "AP_DMIC_BE";

		codec {
			sound-dai = <&dmic_codec>;
		};
	};

	dai-link-1 {
		link-name = "ADDA_BE";

		codec {
			sound-dai = <&pmic 0>, <&accdet>, <&amic_codec>;
		};
	};

	dai-link-2 {
		link-name = "TDM_DPTX_BE";
		status = "disabled";

		codec {
			sound-dai = <&dp_tx>;
		};
	};

	dai-link-3 {
		link-name = "I2SOUT0_BE";
		status = "okay";
		dai-format = "i2s";
        mediatek,clk-provider = "cpu";
		mclk-fs = <256>;
		codec {
            sound-dai = <&tlv320aic310x>;
        };
	};

	dai-link-4 {
		link-name = "I2SIN0_BE";
		status = "okay";
		dai-format = "i2s";
        mediatek,clk-provider = "cpu";
		mclk-fs = <256>;
		codec {
            sound-dai = <&tlv320aic310x>;
        };
	};
	    
};

&disp_pwm1 {
	status = "disabled";
	pinctrl-names = "default";
	pinctrl-0 = <&disp_pwm1_pin_default>;
};

&pwm {
	pinctrl-0 = <&pwm_pins>;
	pinctrl-names = "default";
	status = "okay";
};

&auxadc {
	status = "okay";
};
